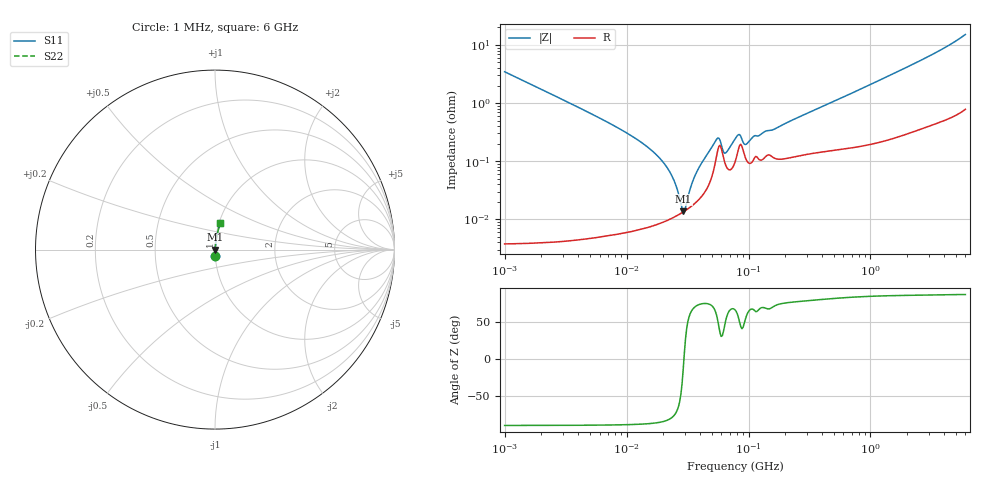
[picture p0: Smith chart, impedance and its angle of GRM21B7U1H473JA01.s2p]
!Murata Part Number: GRM21B7U1H473JA01
!These Parameters are Measured in Series Mode Connection
!Data Generated on Mar 30, 2021
!  o--ll--o
!Port1  Port2
!  o------o
!Operation Temp=25[degC], DC Bias Voltage=0[V]
!Freq. Start=1000[kHz] Stop=6[GHz] 401[Steps]
# Hz S RI R 50
!Freq.(Hz) S11(Real) S11(Imag) S21(Real) S21(Imag) S12(Real) S12(Imag) S22(Real) S22(Imag)
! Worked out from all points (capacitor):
!   401 points, 1 MHz to 6 GHz, reference 50 ohm
!   read as one part in series: C = 45.9 nF near 1.044 MHz
!   lowest |Z| = 13.8 mohm at 29.11 MHz (marker M1)
!   series resonance near 29.54 MHz, so ESL is about 630 pH
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1000000  0.00123 -0.0346  0.9988 0.0346  0.9988 0.0346  0.00123 -0.0346
4293785  0.000107 -0.0079  0.9999 0.0079  0.9999 0.0079  0.000107 -0.0079
1.093935e7  6.91e-05 -0.00274  0.9999 0.00274  0.9999 0.00274  6.91e-05 -0.00274
1.843659e7  8.5e-05 -0.00116  0.9999 0.00116  0.9999 0.00116  8.5e-05 -0.00116
2.146833e7  9.58e-05 -0.000774  0.9999 0.000774  0.9999 0.000774  9.58e-05 -0.000774
2.393455e7  0.000106 -0.000508  0.9999 0.000508  0.9999 0.000508  0.000106 -0.000508
2.910942e7  0.000133 -3.57e-05  0.9999 3.57e-05  0.9999 3.57e-05  0.000133 -3.57e-05
3.040356e7  0.000142 7.06e-05  0.9999 -7.06e-05  0.9999 -7.06e-05  0.000142 7.06e-05
3.389622e7  0.000167 0.000344  0.9998 -0.000344  0.9998 -0.000344  0.000167 0.000344
3.779011e7  0.000204 0.000635  0.9998 -0.000635  0.9998 -0.000635  0.000204 0.000635
5.351853e7  0.000969 0.00199  0.999 -0.00199  0.999 -0.00199  0.000969 0.00199
5.712686e7  0.0018 0.00171  0.9982 -0.00171  0.9982 -0.00171  0.0018 0.00171
6.23192e7  0.00115 0.000875  0.9988 -0.000875  0.9988 -0.000875  0.00115 0.000875
6.508975e7  0.000847 0.0011  0.9992 -0.0011  0.9992 -0.0011  0.000847 0.0011
7.745967e7  0.000965 0.0022  0.999 -0.0022  0.999 -0.0022  0.000965 0.0022
8.450008e7  0.00186 0.00218  0.9981 -0.00218  0.9981 -0.00218  0.00186 0.00218
9.218041e7  0.00132 0.00145  0.9987 -0.00145  0.9987 -0.00145  0.00132 0.00145
9.627852e7  0.00103 0.00168  0.999 -0.00168  0.999 -0.00168  0.00103 0.00168
1.121107e8  0.00115 0.00249  0.9989 -0.00249  0.9989 -0.00249  0.00115 0.00249
3.325952e8  0.00141 0.00713  0.9986 -0.00713  0.9986 -0.00713  0.00141 0.00713
1.428092e9  0.00322 0.0295  0.9968 -0.0295  0.9968 -0.0295  0.00322 0.0295
6e9  0.0296 0.1457  0.9704 -0.1457  0.9704 -0.1457  0.0296 0.1457
